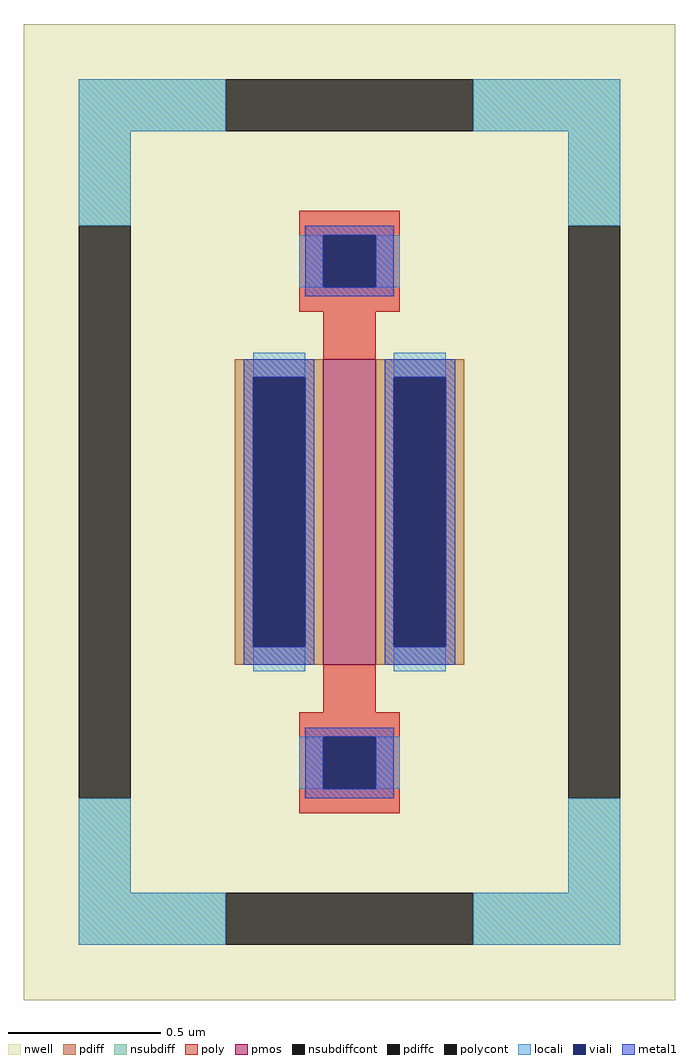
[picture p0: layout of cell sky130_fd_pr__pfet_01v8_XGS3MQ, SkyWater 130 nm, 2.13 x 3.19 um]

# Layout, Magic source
magic
tech sky130A
magscale 1 2
<< nwell >>
rect -213 -319 213 319
<< pmos >>
rect -17 -100 17 100
<< pdiff >>
rect -75 88 -17 100
rect -75 -88 -63 88
rect -29 -88 -17 88
rect -75 -100 -17 -88
rect 17 88 75 100
rect 17 -88 29 88
rect 63 -88 75 88
rect 17 -100 75 -88
<< pdiffc >>
rect -63 -88 -29 88
rect 29 -88 63 88
<< nsubdiff >>
rect -177 249 -81 283
rect 81 249 177 283
rect -177 187 -143 249
rect 143 187 177 249
rect -177 -249 -143 -187
rect 143 -249 177 -187
rect -177 -283 -81 -249
rect 81 -283 177 -249
<< nsubdiffcont >>
rect -81 249 81 283
rect -177 -187 -143 187
rect 143 -187 177 187
rect -81 -283 81 -249
<< poly >>
rect -33 181 33 197
rect -33 147 -17 181
rect 17 147 33 181
rect -33 131 33 147
rect -17 100 17 131
rect -17 -131 17 -100
rect -33 -147 33 -131
rect -33 -181 -17 -147
rect 17 -181 33 -147
rect -33 -197 33 -181
<< polycont >>
rect -17 147 17 181
rect -17 -181 17 -147
<< locali >>
rect -177 249 -81 283
rect 81 249 177 283
rect -177 187 -143 249
rect 143 187 177 249
rect -33 147 -17 181
rect 17 147 33 181
rect -63 88 -29 104
rect -63 -104 -29 -88
rect 29 88 63 104
rect 29 -104 63 -88
rect -33 -181 -17 -147
rect 17 -181 33 -147
rect -177 -249 -143 -187
rect 143 -249 177 -187
rect -177 -283 -81 -249
rect 81 -283 177 -249
<< viali >>
rect -17 147 17 181
rect -63 -88 -29 88
rect 29 -88 63 88
rect -17 -181 17 -147
<< metal1 >>
rect -29 181 29 187
rect -29 147 -17 181
rect 17 147 29 181
rect -29 141 29 147
rect -69 88 -23 100
rect -69 -88 -63 88
rect -29 -88 -23 88
rect -69 -100 -23 -88
rect 23 88 69 100
rect 23 -88 29 88
rect 63 -88 69 88
rect 23 -100 69 -88
rect -29 -147 29 -141
rect -29 -181 -17 -147
rect 17 -181 29 -147
rect -29 -187 29 -181
<< properties >>
string FIXED_BBOX -160 -266 160 266
string gencell sky130_fd_pr__pfet_01v8
string library sky130
string parameters w 1.0 l 0.17 m 1 nf 1 diffcov 100 polycov 100 guard 1 glc 1 grc 1 gtc 1 gbc 1 tbcov 100 rlcov 100 topc 1 botc 1 poverlap 0 doverlap 1 lmin 0.15 wmin 0.42 compatible {sky130_fd_pr__pfet_01v8  sky130_fd_pr__pfet_01v8_lvt sky130_fd_pr__pfet_01v8_hvt  sky130_fd_pr__pfet_g5v0d10v5} full_metal 1 viasrc 100 viadrn 100 viagate 100 viagb 0 viagr 0 viagl 0 viagt 0
<< end >>
